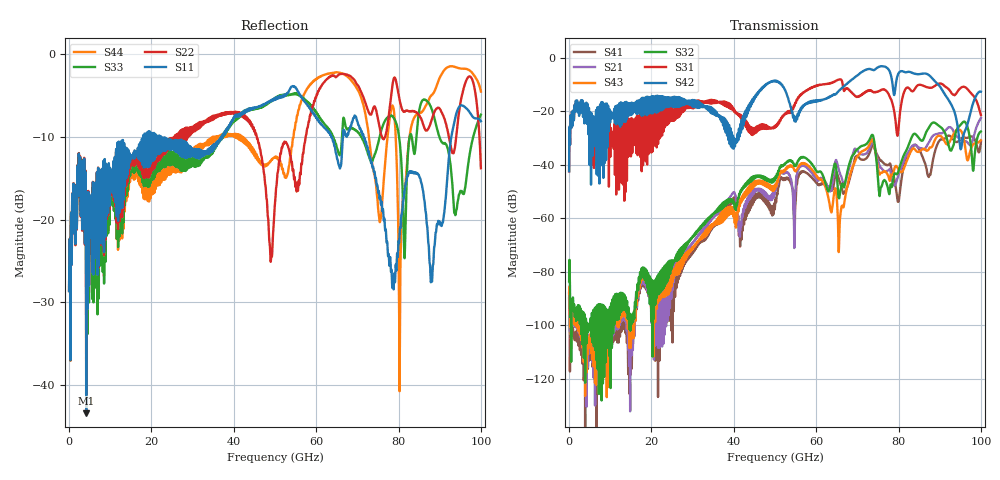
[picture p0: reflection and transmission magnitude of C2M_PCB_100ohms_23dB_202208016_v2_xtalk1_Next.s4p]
! Info: Touchstone file created by Circ.  Input file=Intel_C2M_200G_9p0in_202208016_staggered.circ
# Hz S RI R 50
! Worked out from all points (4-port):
!   10000 points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, 10 MHz to 100 GHz, reference 50 ohm
!   strongest paths, dB at 10 MHz, 25.01 GHz, 50.01 GHz, 75.01 GHz, 100 GHz:
!     S42: -42.4, -14.9, -8.5, -3.4, -12.6
!     S31: -42.4, -18.2, -26.1, -12.6, -21.3
!     S32: -83.6, -75.8, -45.4, -44.7, -27.5
!     S43: -87.9, -78.8, -49.1, -41.3, -30.8
!     S21: -88.2, -77.0, -49.5, -38.4, -22.5
!     S41: -89.9, -78.3, -55.3, -36.8, -31.5
!   lowest |S11| = -43.4 dB at 4.16 GHz (marker M1), VSWR 1.01, Z = 50 + j0.674 ohm
!   |S11| at or under -10 dB: start of sweep to 17.97 GHz; 22.26 GHz to 37.03 GHz (14.77 GHz wide, 49.8 % of centre); 71.52 GHz to 92.83 GHz (21.31 GHz wide, 25.9 % of centre)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
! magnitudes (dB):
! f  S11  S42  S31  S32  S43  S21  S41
! 10 MHz  -28.7  -42.4  -42.4  -83.6  -87.9  -88.2  -89.9
! 4.16 GHz  -43.4  -17.1  -18.7  -100.3  -106.3  -104.5  -110.3
! 40.1 GHz  -7.7  -30.3  -20.1  -54.3  -57.3  -50.2  -52.1
! 73.49 GHz  -13.1  -4.3  -12.3  -28.9  -30.6  -31.7  -33.2
! 76.18 GHz  -18.8  -3.0  -11.6  -46.4  -42.6  -41.9  -39.0
! 95.19 GHz  -6.2  -34.0  -11.1  -24.8  -27.3  -30.8  -30.1
! 100 GHz  -8.1  -12.6  -21.3  -27.5  -30.8  -22.5  -31.5
